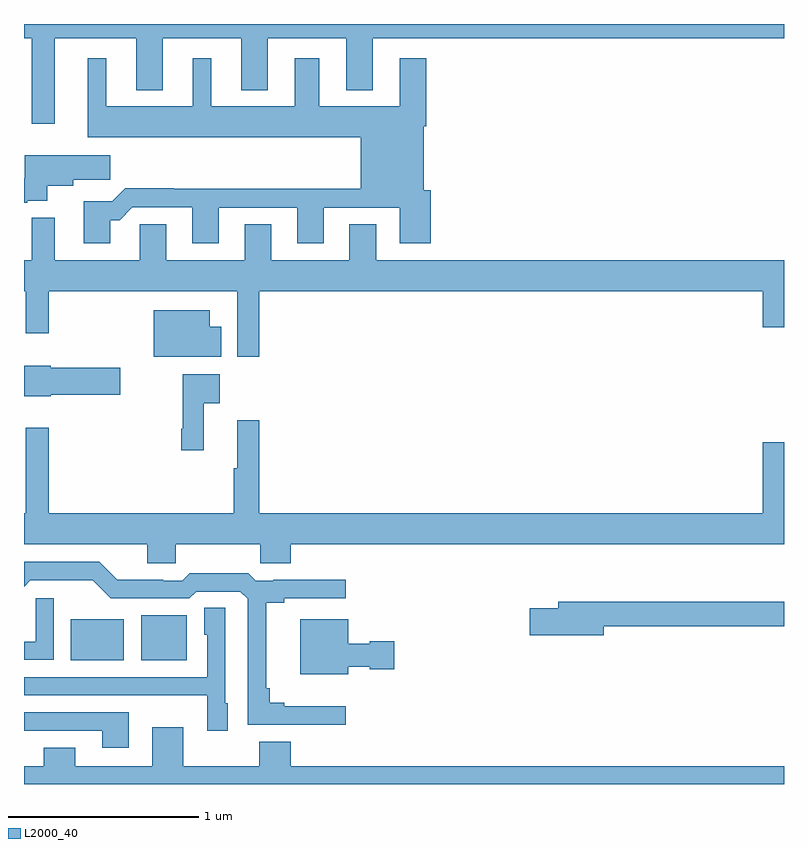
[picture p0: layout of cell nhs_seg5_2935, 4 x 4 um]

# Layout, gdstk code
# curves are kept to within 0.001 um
import gdstk
lib = gdstk.Library(unit=1e-6, precision=1e-09)
def R(c, l, rs):  # rectangles x0, y0, x1, y1
    for r in rs: c.add(gdstk.rectangle(r[:2], r[2:], *l))
def P(c, l, *ps):  # polygons
    for p in ps: c.add(gdstk.Polygon(p, *l))
L2000_40 = (2000, 40)

nhs_seg5_2935 = lib.new_cell('nhs_seg5_2935')
R(nhs_seg5_2935, L2000_40, [(281.246,889.451,281.524,889.666), (281.618,889.451,281.857,889.687)])
P(nhs_seg5_2935, L2000_40, [(281.161,892.724),(281.591,892.724),(281.591,892.451),(281.731,892.451),(281.731,892.724),(282.143,892.724),(282.143,892.451),(282.283,892.451),(282.283,892.724),(282.695,892.724),(282.695,892.451),(282.835,892.451),(282.835,892.724),(285,892.724),(285,892.799),(281,892.799),(281,892.724),(281.04,892.724),(281.04,892.275),(281.161,892.275)],
  [(281.455,891.767),(281.504,891.767),(281.571,891.834),(281.885,891.834),(281.885,891.645),(282.025,891.645),(282.025,891.831),(282.437,891.831),(282.437,891.645),(282.577,891.645),(282.577,891.831),(282.977,891.831),(282.977,891.645),(283.142,891.645),(283.142,891.924),(283.105,891.924),(283.105,892.262),(283.118,892.262),(283.118,892.618),(282.977,892.618),(282.977,892.366),(282.553,892.366),(282.553,892.618),(282.425,892.618),(282.425,892.366),(281.986,892.366),(281.986,892.618),(281.888,892.618),(281.888,892.366),(281.434,892.366),(281.434,892.618),(281.336,892.618),(281.336,892.202),(282.773,892.202),(282.773,891.932),(281.789,891.932),(281.789,891.935),(281.534,891.935),(281.464,891.865),(281.315,891.865),(281.315,891.645),(281.455,891.645)],
  [(281.018,891.87),(281.123,891.87),(281.123,891.947),(281.26,891.947),(281.26,891.979),(281.455,891.979),(281.455,892.108),(281.005,892.108),(281.005,891.986),(281,891.986),(281,891.858),(281.018,891.858)],
  [(282.123,891.048),(282.239,891.048),(282.239,891.392),(284.888,891.392),(284.888,891.204),(285,891.204),(285,891.556),(282.853,891.556),(282.853,891.746),(282.713,891.746),(282.713,891.556),(282.301,891.556),(282.301,891.746),(282.161,891.746),(282.161,891.556),(281.749,891.556),(281.749,891.746),(281.61,891.746),(281.61,891.556),(281.161,891.556),(281.161,891.778),(281.04,891.778),(281.04,891.556),(281,891.556),(281,891.392),(281.009,891.392),(281.009,891.171),(281.131,891.171),(281.131,891.392),(282.123,891.392)],
  [(282.038,891.205),(281.977,891.205),(281.977,891.292),(281.684,891.292),(281.684,891.047),(282.038,891.047)],
  [(281.142,890.849),(281.506,890.849),(281.506,890.991),(281.142,890.991),(281.142,891.001),(281,891.001),(281,890.84),(281.142,890.84)],
  [(281.945,890.804),(282.031,890.804),(282.031,890.956),(281.835,890.956),(281.835,890.668),(281.827,890.668),(281.827,890.556),(281.945,890.556)],
  [(281.799,890.06),(282.244,890.06),(282.244,889.962),(282.404,889.962),(282.404,890.06),(285,890.06),(285,890.599),(284.888,890.599),(284.888,890.224),(282.239,890.224),(282.239,890.713),(282.122,890.713),(282.122,890.46),(282.103,890.46),(282.103,890.224),(281.131,890.224),(281.131,890.674),(281.009,890.674),(281.009,890.224),(281,890.224),(281,890.06),(281.648,890.06),(281.648,889.962),(281.799,889.962)],
  [(282.694,889.207),(282.37,889.207),(282.37,889.226),(282.293,889.226),(282.293,889.303),(282.275,889.303),(282.275,889.754),(282.37,889.754),(282.37,889.776),(282.694,889.776),(282.694,889.874),(282.313,889.874),(282.313,889.869),(282.219,889.869),(282.179,889.909),(281.872,889.909),(281.832,889.869),(281.732,889.869),(281.732,889.874),(281.492,889.874),(281.397,889.968),(281,889.968),(281,889.838),(281.034,889.872),(281.363,889.871),(281.457,889.776),(281.871,889.776),(281.907,889.812),(282.138,889.812),(282.177,889.773),(282.177,889.11),(282.694,889.11)],
  [(281.157,889.777),(281.061,889.777),(281.061,889.548),(281,889.548),(281,889.452),(281.157,889.452)],
  [(284.05,889.63),(285,889.63),(285,889.759),(283.811,889.759),(283.811,889.725),(283.662,889.725),(283.662,889.583),(284.05,889.583)],
  [(282.073,889.224),(282.06,889.224),(282.06,889.727),(281.948,889.727),(281.948,889.584),(281.964,889.584),(281.964,889.362),(281,889.362),(281,889.266),(281.647,889.266),(281.647,889.265),(281.964,889.265),(281.964,889.08),(282.073,889.08)],
  [(282.706,889.415),(282.819,889.415),(282.819,889.403),(282.949,889.403),(282.949,889.55),(282.819,889.55),(282.819,889.537),(282.706,889.537),(282.706,889.666),(282.455,889.666),(282.455,889.376),(282.706,889.376)],
  [(281.551,889.176),(281,889.176),(281,889.08),(281.411,889.08),(281.411,888.99),(281.551,888.99)],
  [(285,888.892),(282.403,888.892),(282.403,889.021),(282.239,889.021),(282.239,888.892),(281.839,888.892),(281.839,889.099),(281.675,889.099),(281.675,888.892),(281.269,888.892),(281.269,888.991),(281.105,888.991),(281.105,888.892),(281,888.892),(281,888.799),(285,888.799)])

lib.write_gds('nhs_seg5_2935.gds')
